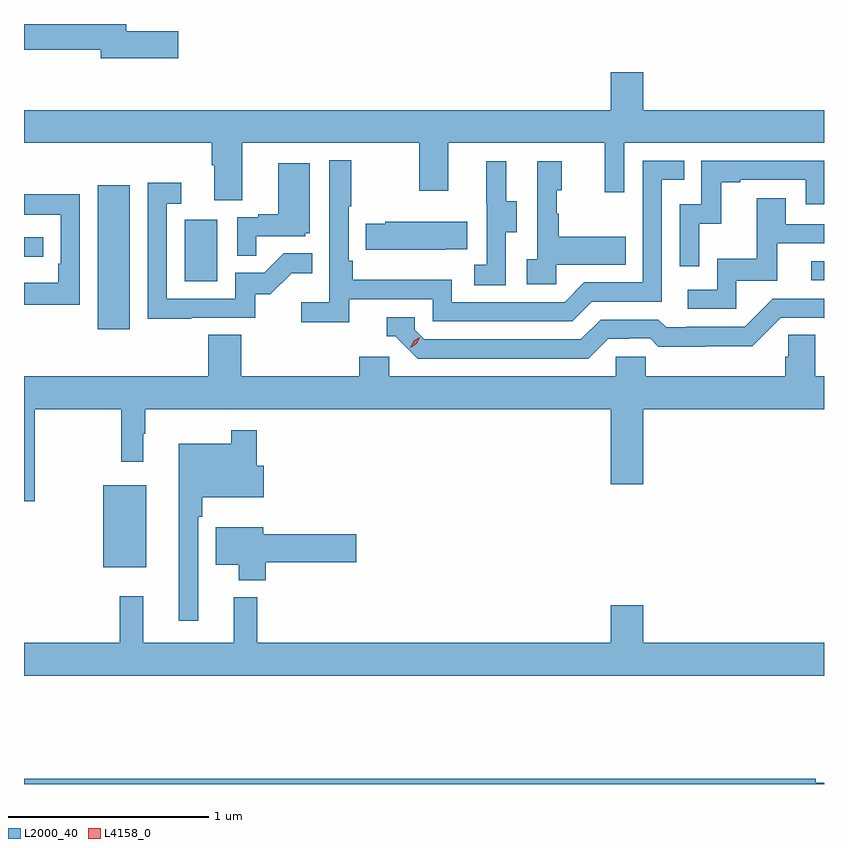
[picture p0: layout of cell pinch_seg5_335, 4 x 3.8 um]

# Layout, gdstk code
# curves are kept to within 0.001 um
import gdstk
lib = gdstk.Library(unit=1e-6, precision=1e-09)
def R(c, l, rs):  # rectangles x0, y0, x1, y1
    for r in rs: c.add(gdstk.rectangle(r[:2], r[2:], *l))
def P(c, l, *ps):  # polygons
    for p in ps: c.add(gdstk.Polygon(p, *l))
L2000_40 = (2000, 40)
L4158_0 = (4158, 0)

pinch_seg5_335 = lib.new_cell('pinch_seg5_335')
R(pinch_seg5_335, L2000_40, [(893.738,886.607,893.953,887.017), (893.711,887.796,893.872,888.517), (894.146,888.036,894.31,888.343), (897.279,888.042,897.343,888.135), (893.343,888.159,893.44,888.255)])
P(pinch_seg5_335, L2000_40, [(894.115,889.286),(893.854,889.286),(893.854,889.322),(893.343,889.322),(893.343,889.194),(893.726,889.194),(893.726,889.151),(894.115,889.151)],
  [(894.433,888.728),(895.318,888.728),(895.318,888.489),(895.465,888.489),(895.465,888.728),(896.246,888.728),(896.246,888.48),(896.343,888.48),(896.343,888.728),(897.343,888.728),(897.343,888.892),(896.44,888.892),(896.44,889.081),(896.276,889.081),(896.276,888.892),(893.343,888.892),(893.343,888.728),(894.281,888.728),(894.281,888.616),(894.293,888.616),(894.293,888.442),(894.433,888.442)],
  [(894.968,887.946),(895.386,887.946),(895.386,887.835),(896.083,887.835),(896.182,887.934),(896.532,887.934),(896.532,888.543),(896.645,888.543),(896.645,888.639),(896.436,888.639),(896.436,888.03),(896.145,888.03),(896.046,887.931),(895.482,887.931),(895.482,888.043),(894.986,888.043),(894.986,888.139),(894.966,888.139),(894.966,888.412),(894.979,888.412),(894.979,888.64),(894.87,888.64),(894.87,887.932),(894.729,887.932),(894.729,887.83),(894.968,887.83)],
  [(896.718,888.323),(896.828,888.323),(896.828,888.531),(896.923,888.531),(896.923,888.543),(897.252,888.543),(897.252,888.42),(897.343,888.42),(897.343,888.639),(896.73,888.639),(896.73,888.42),(896.622,888.42),(896.622,888.111),(896.718,888.111)],
  [(896.004,888.119),(896.351,888.119),(896.351,888.259),(896.017,888.259),(896.017,888.374),(896.007,888.374),(896.007,888.492),(896.032,888.492),(896.032,888.637),(895.908,888.637),(895.908,888.146),(895.857,888.146),(895.857,888.021),(896.004,888.021)],
  [(895.752,888.28),(895.807,888.28),(895.807,888.435),(895.753,888.435),(895.753,888.637),(895.655,888.637),(895.655,888.423),(895.656,888.423),(895.656,888.119),(895.593,888.119),(895.593,888.016),(895.752,888.016)],
  [(894.503,888.261),(894.75,888.261),(894.75,888.276),(894.772,888.276),(894.772,888.625),(894.614,888.625),(894.614,888.37),(894.515,888.37),(894.515,888.357),(894.408,888.357),(894.408,888.163),(894.503,888.163)],
  [(894.179,887.853),(894.498,887.853),(894.498,887.97),(894.574,887.97),(894.681,888.077),(894.785,888.077),(894.785,888.176),(894.641,888.176),(894.543,888.078),(894.399,888.078),(894.399,887.949),(894.057,887.949),(894.057,888.423),(894.13,888.423),(894.13,888.529),(893.961,888.529),(893.961,887.848),(894.179,887.848)],
  [(893.622,888.47),(893.343,888.47),(893.343,888.369),(893.526,888.369),(893.526,888.124),(893.513,888.124),(893.513,888.028),(893.343,888.028),(893.343,887.919),(893.622,887.919)],
  [(896.904,888.039),(897.109,888.039),(897.109,888.225),(897.343,888.225),(897.343,888.321),(897.151,888.321),(897.151,888.451),(897.007,888.451),(897.007,888.148),(896.808,888.148),(896.808,887.994),(896.661,887.994),(896.661,887.898),(896.904,887.898)],
  [(895.451,888.197),(895.559,888.197),(895.559,888.334),(895.149,888.334),(895.149,888.324),(895.051,888.324),(895.051,888.194),(895.451,888.194)],
  [(896.263,887.748),(896.37,887.748),(896.37,887.751),(896.473,887.751),(896.515,887.709),(896.748,887.709),(896.748,887.711),(896.984,887.711),(897.126,887.853),(897.343,887.852),(897.343,887.949),(897.087,887.949),(896.946,887.808),(896.653,887.808),(896.653,887.805),(896.554,887.805),(896.515,887.844),(896.226,887.844),(896.127,887.745),(895.344,887.745),(895.296,887.793),(895.296,887.856),(895.157,887.856),(895.157,887.76),(895.2,887.76),(895.311,887.649),(896.164,887.649)],
  [(893.397,887.396),(893.829,887.396),(893.829,887.133),(893.938,887.133),(893.938,887.273),(893.95,887.273),(893.95,887.396),(896.276,887.396),(896.276,887.022),(896.44,887.022),(896.44,887.396),(897.343,887.396),(897.343,887.56),(897.3,887.56),(897.3,887.768),(897.163,887.768),(897.163,887.658),(897.149,887.658),(897.149,887.56),(896.451,887.56),(896.451,887.658),(896.301,887.658),(896.301,887.56),(895.17,887.56),(895.17,887.658),(895.019,887.658),(895.019,887.56),(894.428,887.56),(894.428,887.768),(894.263,887.768),(894.263,887.56),(893.343,887.56),(893.343,886.935),(893.397,886.935)],
  [(894.213,886.859),(894.233,886.859),(894.233,886.955),(894.541,886.955),(894.541,887.113),(894.506,887.113),(894.506,887.29),(894.378,887.29),(894.378,887.224),(894.116,887.224),(894.116,886.338),(894.213,886.338)],
  [(894.551,886.63),(895.003,886.63),(895.003,886.772),(894.538,886.772),(894.538,886.807),(894.302,886.807),(894.302,886.619),(894.416,886.619),(894.416,886.541),(894.551,886.541)],
  [(897.343,886.228),(896.44,886.228),(896.44,886.417),(896.276,886.417),(896.276,886.228),(894.509,886.228),(894.509,886.456),(894.392,886.456),(894.392,886.228),(893.939,886.228),(893.939,886.462),(893.821,886.462),(893.821,886.228),(893.343,886.228),(893.343,886.064),(897.343,886.064)],
  [(897.343,885.528),(897.302,885.528),(897.302,885.548),(893.343,885.548),(893.343,885.522),(897.343,885.522)])
P(pinch_seg5_335, L4158_0, [(895.276,887.704),(895.276,887.705),(895.291,887.738),(895.322,887.757),(895.322,887.757),(895.322,887.757),(895.306,887.724),(895.276,887.704)])

lib.write_gds('pinch_seg5_335.gds')
